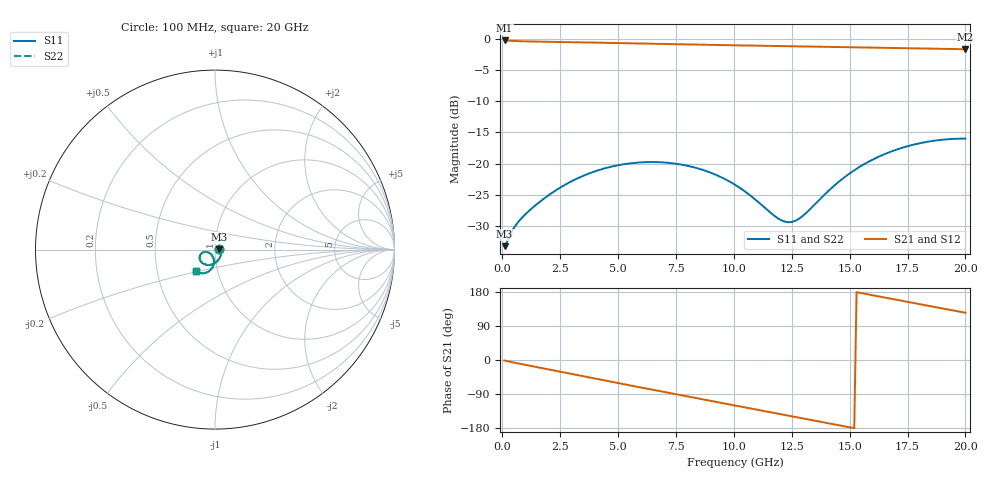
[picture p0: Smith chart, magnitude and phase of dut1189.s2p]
! Touchstone file exported from HFSS 2026.1.0
!  File:  C:/ffzhzh/LocalFiles/Ansys_Project_Files/temp_train_TSV_RDL_1189_1783316830_39728.aedt
!  Generated:  01:55:20 PM Jul  6, 2026
!  Design:  TSV_RDL
!  Project:  temp_train_TSV_RDL_1189_1783316830_39728
! Variables:
!  h_bsmrdl = 2.37um
!  h_ox = 20um
!  h_rdl = 5um
!  h_sub = 78.31um
!  h_tmrdl = 3.18um
!  h_tsv = 78.31um
!  h_via = 3um
!  l_bsmrdl = 172.38um
!  l_sub = 3768.12um
!  l_tmrdl = 683.57um
!  m_sub = 200um
!  pitch = 24.59um
!  r_tsv = 5.11um
!  s_tmrdl = 10um
!  w_bsmrdl = 16um
!  w_sub = 500um
!  w_tmrdl = 22.9um
!  x_tsv_center1 = 695.02um
!  x_tsv_center2 = 883.4um
!  x_tsv_center3 = 1589.87um
!  x_tsv_center4 = 1778.25um
!  x_tsv_center5 = 2484.72um
!  x_tsv_center6 = 2673.1um
# GHz S MA R 50.000000
! Terminal data exported
! Port[1] = TM_RDL1_1_T1
! Port[2] = TM_RDL5_1_T1
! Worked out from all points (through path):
!   200 points, 100 MHz to 20 GHz, reference 50 ohm
!   highest |S21| = -0.19 dB at 100 MHz (marker M1); lowest = -1.6 dB at 20 GHz (marker M2)
!   group delay of S21, straight-line fit = 32.5 ps
!   lowest |S11| = -33.3 dB at 100 MHz (marker M3), VSWR 1.04, Z = 52.2 + j0.102 ohm
!   |S11| at or under -10 dB: start of sweep to end of sweep
!   |S22| runs from -33.3 to -16.0 dB; largest |S21 - S12| = 2.4e-14
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0.1  0.02165 2.6  0.9784 -1.4  0.9784 -1.4  0.02165 2.6
! Gamma 0 0 0 0
! Port Impedance 50 0 50 0
0.6  0.03227 -12.1  0.9676 -8.0  0.9676 -8.0  0.03227 -12.1
1.2  0.04238 -39.1  0.9601 -15.2  0.9601 -15.2  0.0424 -39.1
2.3  0.06068 -72.2  0.9527 -28.5  0.9527 -28.5  0.06072 -72.2
3.5  0.07977 -96.2  0.9443 -43.0  0.9443 -43.0  0.07985 -96.1
4.4  0.09125 -110.4  0.9372 -53.8  0.9372 -53.8  0.09136 -110.3
5.2  0.09843 -121.6  0.9305 -63.3  0.9305 -63.3  0.09857 -121.5
6  0.1023 -131.8  0.9238 -72.7  0.9238 -72.7  0.1024 -131.6
6.8  0.1025 -141.1  0.9173 -82.1  0.9173 -82.1  0.1027 -140.9
8.4  0.09196 -157.0  0.9052 -100.8  0.9052 -100.8  0.09224 -156.8
9.3  0.08006 -163.8  0.8991 -111.3  0.8991 -111.3  0.0804 -163.5
10.1  0.06665 -167.2  0.8942 -120.6  0.8942 -120.6  0.06705 -166.9
11.8  0.03739 -152.1  0.8844 -140.4  0.8844 -140.4  0.03799 -151.9
12.2  0.0341 -139.5  0.8821 -145.0  0.8821 -145.0  0.03472 -139.5
12.7  0.03496 -121.1  0.8793 -150.8  0.8793 -150.8  0.0355 -121.6
13.4  0.04498 -102.6  0.8751 -159.0  0.8751 -159.0  0.04532 -103.2
14.3  0.06555 -94.7  0.8696 -169.5  0.8696 -169.5  0.06572 -95.2
15  0.08325 -95.1  0.865 -177.6  0.865 -177.6  0.08334 -95.5
15.8  0.103 -98.8  0.8595 173.1  0.8595 173.1  0.1031 -99.0
16.7  0.1231 -104.8  0.8532 162.6  0.8532 162.6  0.1231 -105.0
18.3  0.1491 -117.7  0.842 144.2  0.842 144.2  0.1491 -117.7
20  0.1587 -132.0  0.8316 124.7  0.8316 124.7  0.1587 -132.0
